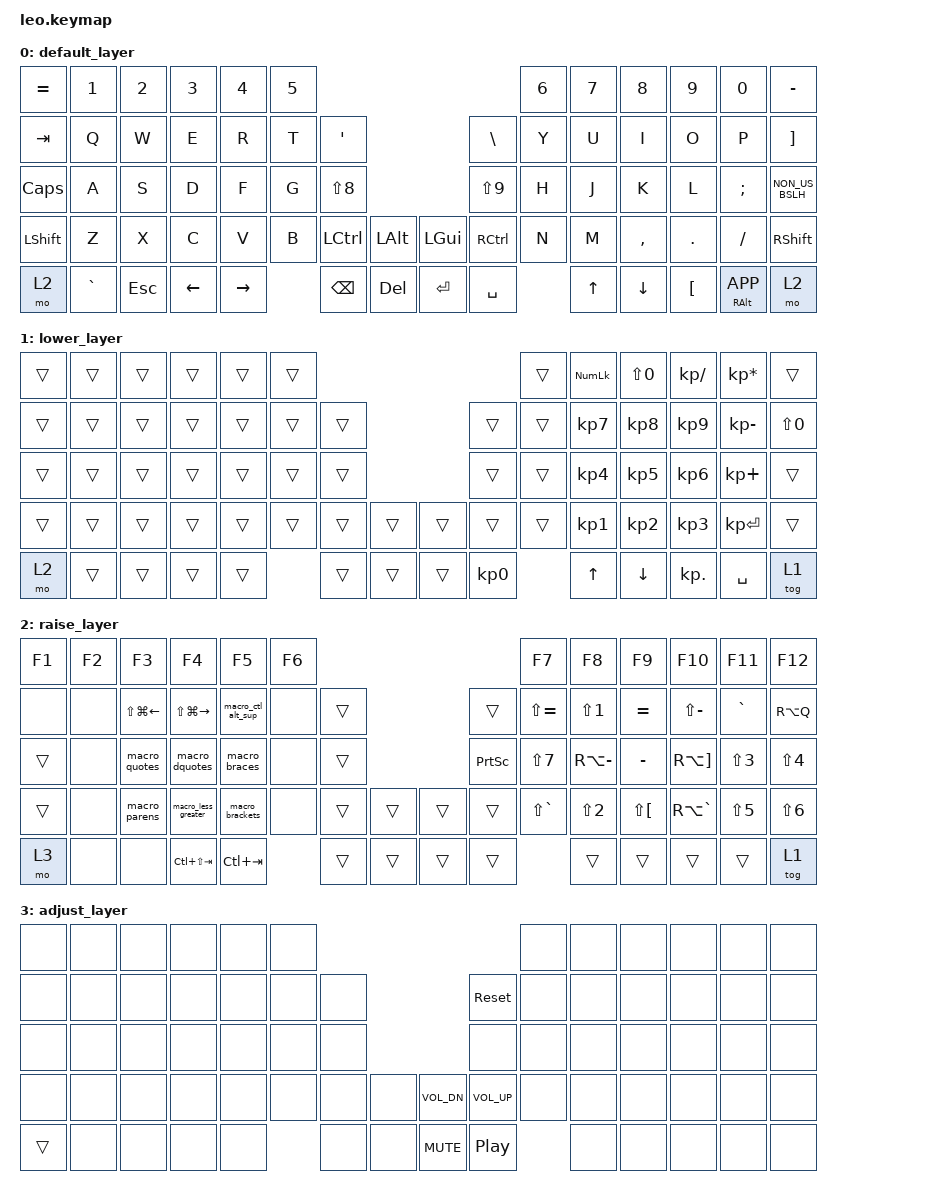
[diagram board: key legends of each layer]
/*
 * Copyright (c) 2021 The ZMK Contributors
 *
 * SPDX-License-Identifier: MIT
 */

#include <behaviors.dtsi>
#include <dt-bindings/zmk/keys.h>
#include <dt-bindings/zmk/bt.h>
#include <dt-bindings/zmk/ext_power.h>
#include <dt-bindings/zmk/outputs.h>


/ {
    

 behaviors {
    #include "macros.dtsi"
   
  };

        keymap {
        compatible =  "zmk,keymap" ;

           default_layer {
// --------------------------------------------------------------------------------------------------------------------------------
// | ¿ ¡      |  1  |  2  |   3   |  4  |  5  |                   ---                 |  6    |  7    |  8    |  9   | 0    |  ' ? \ +  |
// | TAB      |  Q  |  W  |   E   |  R  |  T  |   (   |           ---         |  )    |  Y    |  U    |  I    |  O   | P    |  ´ ¨ -    |
// | | ° ¬    |  A  |  S  |   D   |  F  |  G  |   [   |           ---         |  ]    |  H    |  J    |  K    |  L   | ;    |   < > *   |
// |SHIFT CAPS|  Z  |  X  |   C   |  V  |  B  | PG_UP | PG_DOWN | --- | HOME  | END   |  N    |  M    |  ,    |  .   | UP   | - _ SHIFT |
// | CRTL     | GUI | ALT |  ESC  |    BKSP   |  DEL  |  LOWER  | --- | RAISE | ENTER |     SPACE     | ALTGR | LEFT | DOWN |   RIGHT   |
            bindings = <
   &kp EQUAL  &kp N1    &kp N2   &kp N3    &kp N4   &kp N5                                              &kp N6 &kp N7 &kp N8     &kp N9    &kp N0          &kp MINUS
   &kp TAB    &kp Q     &kp W    &kp E     &kp R    &kp T  &kp SQT                           &kp BSLH   &kp Y  &kp U  &kp I      &kp O     &kp P           &kp RBKT
   &kp CAPS   &kp A     &kp S    &kp D     &kp F    &kp G  &kp LS(N8)                        &kp LS(N9) &kp H  &kp J  &kp K      &kp L     &kp SEMI        &kp NON_US_BSLH
   &kp LSHFT  &kp Z     &kp X    &kp C     &kp V    &kp B  &kp LCTRL  &kp LALT      &kp LGUI &kp RCTRL  &kp N  &kp M  &kp COMMA  &kp DOT   &kp FSLH        &kp RSHFT
   &mo 2      &kp GRAVE &kp ESC  &kp LEFT  &kp RIGHT       &kp BSPC   &kp DEL       &kp RET  &kp SPACE         &kp UP &kp DOWN   &kp LBKT  &mt RALT K_APP  &mo 2
            >;

        };
        
        
          lower_layer {
// --------------------------------------------------------------------------------------------------------------------------
// | F1    |  F2 |  F3 |  F4   |  F5   |  F6 |                   ---              |  F7 |  F8 |  F9  |  F10 | F11 |  F12  |
// | ESC   |  1  |  2  |   3   |   4   |  5  |   (   |           ---        |  )  |  6  |  7  |   8  |  9   |  0  |  DEL  |
// | CTRL  |  -  |  =  |   [   |   ]   |  \  |   [   |           ---        |  ]  |  *  |  4  |   5  |  6   |  +  |   -   |
// | SHIFT | ESC | GUI | COPY  | PASTE |     | PG_UP | PG_DOWN | --- | HOME | END |  \  |  1  |   2  |  3   | RET |  RET  |
// | CRTL  | ALT | GUI | LOWER |     GUI     | LOWER | SPACE   | --- | DEL  |  0  |    RAISE  | LEFT | DOWN | UP  | RIGHT |
            bindings = <
  &trans  &trans  &trans   &trans   &trans  &trans                                      &trans   &kp KP_NUM &kp LS(N0)  &kp KP_DIVIDE  &kp KP_MULTIPLY  &trans
  &trans  &trans  &trans   &trans   &trans  &trans   &trans                   &trans    &trans   &kp KP_N7  &kp KP_N8   &kp KP_N9      &kp KP_MINUS     &kp LS(N0)
  &trans  &trans  &trans   &trans   &trans  &trans   &trans                   &trans    &trans   &kp KP_N4  &kp KP_N5   &kp KP_N6      &kp KP_PLUS      &trans
  &trans  &trans  &trans   &trans   &trans  &trans   &trans  &trans   &trans  &trans    &trans   &kp KP_N1  &kp KP_N2   &kp KP_N3      &kp KP_ENTER     &trans 
  &mo 2   &trans  &trans   &trans   &trans           &trans  &trans   &trans  &kp KP_N0          &kp UP     &kp DOWN    &kp KP_DOT     &kp SPACE        &tog 1
            >;
        };

         raise_layer {
// ----------------------------------------------------------------------------------------------------------------------------
// | F1    |  F2 |  F3 |  F4   |  F5   |  F6 |                   ---              |  F7  |  F8  |  F9  |  F10 | F11   |  F12  |
// | ESC   |  !  |  @  |   #   |  $  |  %  |   (   |           ---        |  )    |  ^   |  &   |  *   |  (   |  )    |  DEL  |
// | CTRL  |  _  |  +  |   {   |  }  | "|" |   [   |           ---        |  ]    | HOME | PGUP | PRSC | UP   |  `    |   ~   |
// | SHIFT | ESC | GUI |   (   |  )  |     | PG_UP | PG_DOWN | --- | HOME | END   | END  | PGDN | LEFT | DOWN | RIGHT |  RET  |
// | CRTL  | ALT | GUI | LOWER |    GUI    | LOWER | SPACE   | --- | DEL  | SPACE |    RAISE    | LEFT | DOWN | UP    | RIGHT |
            bindings = <
   &kp F1   &kp F2  &kp F3              &kp F4               &kp F5                 &kp F6                                       &kp F7         &kp F8        &kp F9       &kp F10        &kp F11       &kp F12
   &none    &none   &kp LS(LG(LEFT))    &kp LS(LG(RIGHT))    &macro_ctl_alt_sup     &none   &trans                    &trans     &kp LS(EQUAL)  &kp LS(N1)    &kp EQUAL    &kp LS(MINUS)  &kp GRAVE     &kp RA(Q)
   &trans   &none   &macro_quotes       &macro_dquotes       &macro_braces          &none   &trans                    &kp PSCRN  &kp LS(N7)     &kp RA(MINUS) &kp MINUS    &kp RA(RBKT)   &kp LS(N3)    &kp LS(N4)
   &trans   &none   &macro_parens       &macro_less_greater  &macro_brackets        &none   &trans  &trans  &trans    &trans     &kp LS(GRAVE)  &kp LS(N2)    &kp LS(LBKT) &kp RA(GRAVE)  &kp LS(N5)    &kp LS(N6) 
   &mo 3    &none   &none               &kp LC(LS(TAB))      &kp LC(TAB)                    &trans  &trans  &trans    &trans                    &trans        &trans       &trans         &trans        &tog 1
            >;
        };       

         adjust_layer {
// -----------------------------------------------------------------------------------------
// |  F1   |  F2   |    F3    |    F4     |     F5     | F6 |                   ---                | F7  | F8  |  F9  |  F10 | F11 | F12        |
// | TAB   |       |          |           |            |    | BOOTL |           ---        |  f    | BT1 | BT2 |  BT3 |  BT4 | BT5 | OUTPUT TGL |
// | CTRL  | MUTE  |  Vol Dn  |  Vol Up   | Play/Pause |    | RESET |           ---        |  d    | F1  | F2  |  F3  |  F4  | F5  | F6         |
// | SHIFT | PSCRN |  PSCRN   |   CAPS    |            |    | PG_UP | PG_DOWN | --- | HOME | END   | F7  | F8  |  F9  |  F10 | F11 | F12        |
// | CRTL  | ALT   |  GUI     |   LOWER   |      GUI        | LOWER | SPACE   | --- | DEL  | SPACE |   RAISE   | LEFT | DOWN | UP  |   RIGHT    |
                        bindings = <
   &none   &none  &none  &none  &none  &none                                               &none  &none  &none &none  &none &none
   &none   &none  &none  &none  &none  &none   &none                         &sys_reset    &none  &none  &none &none  &none &none 
   &none   &none  &none  &none  &none  &none   &none                         &none         &none  &none  &none &none  &none &none 
   &none   &none  &none  &none  &none  &none   &none   &none   &kp C_VOL_DN  &kp C_VOL_UP  &none  &none  &none &none  &none &none 
   &trans  &none  &none  &none  &none          &none   &none   &kp C_MUTE    &kp C_PP             &none  &none &none  &none &none
            >;
        };

 

        
    };
};
